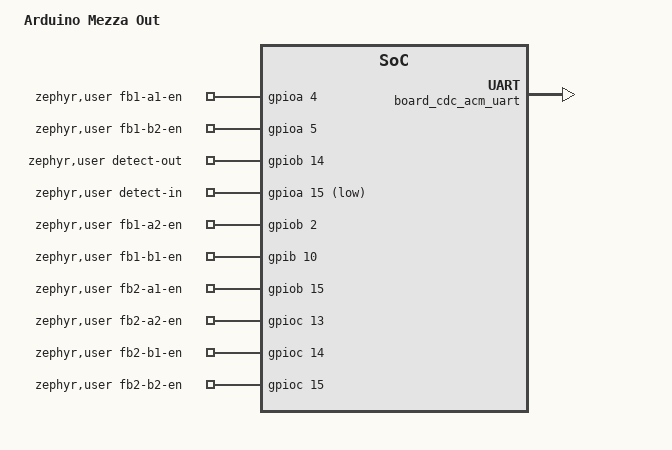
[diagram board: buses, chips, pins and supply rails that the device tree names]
/*
 * Copyright (c) 2026 Arduino SA
 *
 * SPDX-License-Identifier: Apache-2.0
 */

/dts-v1/;
#include "arduino_mezza_out-common.dtsi"

/ {
	model = "Arduino Mezza Out";
	compatible = "arduino,mezza_out";

	#address-cells = <1>;
	#size-cells = <1>;

	chosen {
		zephyr,console = &uart5;
		zephyr,shell-uart = &uart5;
		zephyr,sram = &sram1;
		zephyr,flash = &flash0;
		zephyr,code-partition = &slot0_partition;
	};

	aliases {
		/*led1 = &blue_led_0;
		watchdog0 = &iwdg;
		volt-sensor0 = &vref;
		volt-sensor1 = &vbat;
		button = &button0;
		fade-led = &pwm_led_0;*/
	};

	zephyr,user {
		fb1-a1-en-gpios = <&gpioa 4 GPIO_ACTIVE_HIGH>;
		fb1-b2-en-gpios = <&gpioa 5 GPIO_ACTIVE_HIGH>;
		detect-out-gpios = <&gpiob 14 GPIO_ACTIVE_HIGH>;
		detect-in-gpios = <&gpioa 15 GPIO_ACTIVE_LOW>;
		fb1-a2-en-gpios = <&gpiob 2 GPIO_ACTIVE_HIGH>;
		fb1-b1-en-gpios = <&gpib 10 GPIO_ACTIVE_HIGH>;
		fb2-a1-en-gpios = <&gpiob 15 GPIO_ACTIVE_HIGH>;
		fb2-a2-en-gpios = <&gpioc 13 GPIO_ACTIVE_HIGH>;
		fb2-b1-en-gpios = <&gpioc 14 GPIO_ACTIVE_HIGH>;
		fb2-b2-en-gpios = <&gpioc 15 GPIO_ACTIVE_HIGH>;
	};
};

&zephyr_udc0 {
	board_cdc_acm_uart: board_cdc_acm_uart {
		compatible = "zephyr,cdc-acm-uart";
		status = "okay";
	};
};
